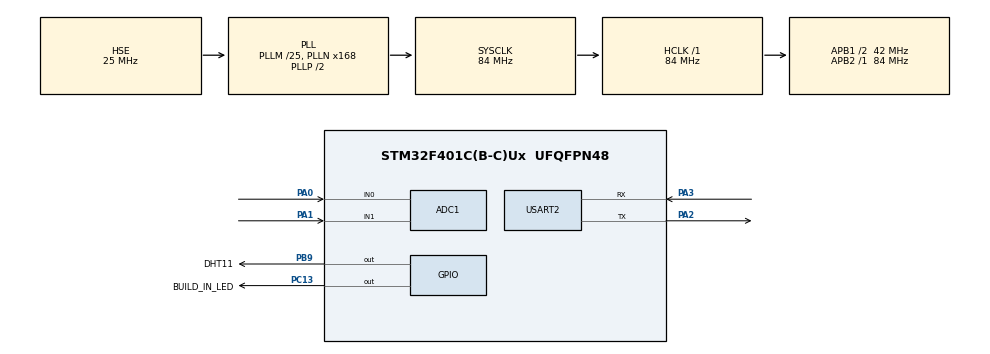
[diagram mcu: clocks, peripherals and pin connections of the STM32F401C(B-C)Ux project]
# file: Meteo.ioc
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ADC1.Channel-0\#ChannelRegularConversion=ADC_CHANNEL_0
ADC1.Channel-1\#ChannelRegularConversion=ADC_CHANNEL_1
ADC1.ContinuousConvMode=ENABLE
ADC1.EOCSelection=ADC_EOC_SINGLE_CONV
ADC1.NbrOfConversion=2
ADC1.NbrOfConversionFlag=1
ADC1.Rank-0\#ChannelRegularConversion=1
ADC1.Rank-1\#ChannelRegularConversion=2
ADC1.SamplingTime-0\#ChannelRegularConversion=ADC_SAMPLETIME_3CYCLES
ADC1.SamplingTime-1\#ChannelRegularConversion=ADC_SAMPLETIME_3CYCLES
ADC1.master=1
Mcu.Family=STM32F4
Mcu.Name=STM32F401C(B-C)Ux
Mcu.Package=UFQFPN48
NVIC.PriorityGroup=NVIC_PRIORITYGROUP_4
NVIC.USART2_IRQn=true\:0\:0\:false\:false\:true\:true\:true\:true
PA0-WKUP.Signal=ADCx_IN0
PA1.Signal=ADCx_IN1
PA13.Mode=Serial_Wire
PA13.Signal=SYS_JTMS-SWDIO
PA14.Mode=Serial_Wire
PA14.Signal=SYS_JTCK-SWCLK
PA2.Mode=Asynchronous
PA2.Signal=USART2_TX
PA3.Mode=Asynchronous
PA3.Signal=USART2_RX
PB9.GPIO_Label=DHT11
PB9.GPIO_PuPd=GPIO_PULLDOWN
PB9.Signal=GPIO_Output
PC13-ANTI_TAMP.GPIO_Label=BUILD_IN_LED
PC13-ANTI_TAMP.GPIO_PuPd=GPIO_PULLUP
PC13-ANTI_TAMP.Signal=GPIO_Output
PH0\ -\ OSC_IN.Mode=HSE-External-Oscillator
PH0\ -\ OSC_IN.Signal=RCC_OSC_IN
PH1\ -\ OSC_OUT.Mode=HSE-External-Oscillator
PH1\ -\ OSC_OUT.Signal=RCC_OSC_OUT
ProjectManager.HeapSize=0x200
ProjectManager.StackSize=0x400
ProjectManager.TargetToolchain=STM32CubeIDE
RCC.48MHZClocksFreq_Value=42000000
RCC.AHBFreq_Value=84000000
RCC.APB1CLKDivider=RCC_HCLK_DIV2
RCC.APB1Freq_Value=42000000
RCC.APB1TimFreq_Value=84000000
RCC.APB2Freq_Value=84000000
RCC.APB2TimFreq_Value=84000000
RCC.CortexFreq_Value=84000000
RCC.HCLKFreq_Value=84000000
RCC.HSE_VALUE=25000000
RCC.HSI_VALUE=16000000
RCC.LSE_VALUE=32768
RCC.PLLM=25
RCC.PLLN=168
RCC.PLLSourceVirtual=RCC_PLLSOURCE_HSE
RCC.SYSCLKFreq_VALUE=84000000
RCC.SYSCLKSource=RCC_SYSCLKSOURCE_PLLCLK
RCC.VCOOutputFreq_Value=168000000
SH.ADCx_IN0.0=ADC1_IN0,IN0
SH.ADCx_IN1.0=ADC1_IN1,IN1
TIM1.Prescaler=71
USART2.VirtualMode=VM_ASYNC
VP_TIM1_VS_ClockSourceINT.Mode=Internal
board=custom

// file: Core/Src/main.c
/* USER CODE BEGIN Header */
/**
  ******************************************************************************
  * @file           : main.c
  * @brief          : Main program body
  ******************************************************************************
  * @attention
  *
  * Copyright (c) 2025 STMicroelectronics.
  * All rights reserved.
  *
  * This software is licensed under terms that can be found in the LICENSE file
  * in the root directory of this software component.
  * If no LICENSE file comes with this software, it is provided AS-IS.
  *
  ******************************************************************************
  */
/* USER CODE END Header */
#include "main.h"

ADC_HandleTypeDef hadc1;

TIM_HandleTypeDef htim1;

UART_HandleTypeDef huart2;

/* USER CODE BEGIN PV */
uint32_t adcValue1 = 0;
uint32_t adcValue2 = 0;

int temp = 22;
uint8_t ttemp =22;
uint8_t humidity = 50;

uint8_t soilSensorValue = 0;
uint8_t rainSensorValue = 0;

static RelayControl relay1;
static RelayControl relay2;
static RelayControl relay3;
/* USER CODE END PV */

void SystemClock_Config(void);
static void MX_GPIO_Init(void);
static void MX_USART2_UART_Init(void);
static void MX_ADC1_Init(void);
static void MX_TIM1_Init(void);

/* USER CODE BEGIN 0 */
void readRowADC()
{
    // Reconfigure the ADC channel to IN0
    HAL_ADC_Start(&hadc1);
    HAL_ADC_PollForConversion(&hadc1, HAL_MAX_DELAY);
    adcValue1 = HAL_ADC_GetValue(&hadc1); // Read data from IN0

    // Reconfigure the ADC channel to IN1
    ADC_ChannelConfTypeDef sConfig = {0};
    sConfig.Channel = ADC_CHANNEL_1;
    sConfig.Rank = 1;
    sConfig.SamplingTime = ADC_SAMPLETIME_3CYCLES;
    HAL_ADC_ConfigChannel(&hadc1, &sConfig);

    HAL_ADC_PollForConversion(&hadc1, HAL_MAX_DELAY);
    adcValue2 = HAL_ADC_GetValue(&hadc1); // Read data from IN1

    // Reconfigure the ADC channel back to IN0 for the next loop iteration
    sConfig.Channel = ADC_CHANNEL_0;
    HAL_ADC_ConfigChannel(&hadc1, &sConfig);
}
/* USER CODE END 0 */

int main(void)
{

  /* MCU Configuration--------------------------------------------------------*/

  /* Reset of all peripherals, Initializes the Flash interface and the Systick. */
  HAL_Init();

  /* USER CODE BEGIN Init */

  //Set up the systick timer to generate an interrupt every 1ms
  SysTick_Config(SystemCoreClock / 1000);

  /* USER CODE END Init */

  /* Configure the system clock */
  SystemClock_Config();

  /* Initialize all configured peripherals */
  MX_GPIO_Init();
  MX_USART2_UART_Init();
  MX_ADC1_Init();
  MX_TIM1_Init();
  /* USER CODE BEGIN 2 */
  // Initializate the RX_DATA buffer
  HAL_UART_Receive_IT(&huart2, RX_DATA, RX_DATA_SIZE);
  // Initialize the retarget function
  RetargetInit(&huart2);
  initRelayControl(&relay1, RELAY_1_PORT, RELAY_1_PIN);
  initRelayControl(&relay2, RELAY_2_PORT, RELAY_2_PIN);
  initRelayControl(&relay3, RELAY_3_PORT, RELAY_3_PIN);
  /* USER CODE END 2 */

  /* Infinite loop */
  /* USER CODE BEGIN WHILE */
  while (1)
  {
    readRowADC(); // Read ADC values
      // Convert ADC values to soil moisture and rainwater
    soilSensorValue = convertSoilMoisture(adcValue1);
    rainSensorValue = convertRainWater(adcValue2);
    printf("SOIL:%d RAIN:%d\n", soilSensorValue, rainSensorValue);
    printf("TEMP:%d HUM:%d\n", temp, humidity);
    // printf("TEMP: %d HUM:%d SOIL:%d RAIN:%d\n", temp, humidity, soilSensorValue, rainSensorValue);
    HAL_Delay(1000); // Delay for 1 second
    // HAL_Delay(1000); // Delay for 1 second

    /* USER CODE END WHILE */

  }
}

void SystemClock_Config(void)
{
  RCC_OscInitTypeDef RCC_OscInitStruct = {0};
  RCC_ClkInitTypeDef RCC_ClkInitStruct = {0};

  /** Configure the main internal regulator output voltage
  */
  __HAL_RCC_PWR_CLK_ENABLE();
  __HAL_PWR_VOLTAGESCALING_CONFIG(PWR_REGULATOR_VOLTAGE_SCALE2);

  /** Initializes the RCC Oscillators according to the specified parameters
  * in the RCC_OscInitTypeDef structure.
  */
  RCC_OscInitStruct.OscillatorType = RCC_OSCILLATORTYPE_HSE;
  RCC_OscInitStruct.HSEState = RCC_HSE_ON;
  RCC_OscInitStruct.PLL.PLLState = RCC_PLL_ON;
  RCC_OscInitStruct.PLL.PLLSource = RCC_PLLSOURCE_HSE;
  RCC_OscInitStruct.PLL.PLLM = 25;
  RCC_OscInitStruct.PLL.PLLN = 168;
  RCC_OscInitStruct.PLL.PLLP = RCC_PLLP_DIV2;
  RCC_OscInitStruct.PLL.PLLQ = 4;
  if (HAL_RCC_OscConfig(&RCC_OscInitStruct) != HAL_OK)
  {
    Error_Handler();
  }

  /** Initializes the CPU, AHB and APB buses clocks
  */
  RCC_ClkInitStruct.ClockType = RCC_CLOCKTYPE_HCLK|RCC_CLOCKTYPE_SYSCLK
                              |RCC_CLOCKTYPE_PCLK1|RCC_CLOCKTYPE_PCLK2;
  RCC_ClkInitStruct.SYSCLKSource = RCC_SYSCLKSOURCE_PLLCLK;
  RCC_ClkInitStruct.AHBCLKDivider = RCC_SYSCLK_DIV1;
  RCC_ClkInitStruct.APB1CLKDivider = RCC_HCLK_DIV2;
  RCC_ClkInitStruct.APB2CLKDivider = RCC_HCLK_DIV1;

  if (HAL_RCC_ClockConfig(&RCC_ClkInitStruct, FLASH_LATENCY_2) != HAL_OK)
  {
    Error_Handler();
  }
}

static void MX_ADC1_Init(void)
{

  ADC_ChannelConfTypeDef sConfig = {0};

  /** Configure the global features of the ADC (Clock, Resolution, Data Alignment and number of conversion)
  */
  hadc1.Instance = ADC1;
  hadc1.Init.ClockPrescaler = ADC_CLOCK_SYNC_PCLK_DIV4;
  hadc1.Init.Resolution = ADC_RESOLUTION_12B;
  hadc1.Init.ScanConvMode = ENABLE;
  hadc1.Init.ContinuousConvMode = ENABLE;
  hadc1.Init.DiscontinuousConvMode = DISABLE;
  hadc1.Init.ExternalTrigConvEdge = ADC_EXTERNALTRIGCONVEDGE_NONE;
  hadc1.Init.ExternalTrigConv = ADC_SOFTWARE_START;
  hadc1.Init.DataAlign = ADC_DATAALIGN_RIGHT;
  hadc1.Init.NbrOfConversion = 2;
  hadc1.Init.DMAContinuousRequests = DISABLE;
  hadc1.Init.EOCSelection = ADC_EOC_SINGLE_CONV;
  if (HAL_ADC_Init(&hadc1) != HAL_OK)
  {
    Error_Handler();
  }

  /** Configure for the selected ADC regular channel its corresponding rank in the sequencer and its sample time.
  */
  sConfig.Channel = ADC_CHANNEL_0;
  sConfig.Rank = 1;
  sConfig.SamplingTime = ADC_SAMPLETIME_3CYCLES;
  if (HAL_ADC_ConfigChannel(&hadc1, &sConfig) != HAL_OK)
  {
    Error_Handler();
  }

  /** Configure for the selected ADC regular channel its corresponding rank in the sequencer and its sample time.
  */
  sConfig.Channel = ADC_CHANNEL_1;
  sConfig.Rank = 2;
  if (HAL_ADC_ConfigChannel(&hadc1, &sConfig) != HAL_OK)
  {
    Error_Handler();
  }

}

static void MX_TIM1_Init(void)
{

  TIM_ClockConfigTypeDef sClockSourceConfig = {0};
  TIM_MasterConfigTypeDef sMasterConfig = {0};

  htim1.Instance = TIM1;
  htim1.Init.Prescaler = 71;
  htim1.Init.CounterMode = TIM_COUNTERMODE_UP;
  htim1.Init.Period = 65535;
  htim1.Init.ClockDivision = TIM_CLOCKDIVISION_DIV1;
  htim1.Init.RepetitionCounter = 0;
  htim1.Init.AutoReloadPreload = TIM_AUTORELOAD_PRELOAD_DISABLE;
  if (HAL_TIM_Base_Init(&htim1) != HAL_OK)
  {
    Error_Handler();
  }
  sClockSourceConfig.ClockSource = TIM_CLOCKSOURCE_INTERNAL;
  if (HAL_TIM_ConfigClockSource(&htim1, &sClockSourceConfig) != HAL_OK)
  {
    Error_Handler();
  }
  sMasterConfig.MasterOutputTrigger = TIM_TRGO_RESET;
  sMasterConfig.MasterSlaveMode = TIM_MASTERSLAVEMODE_DISABLE;
  if (HAL_TIMEx_MasterConfigSynchronization(&htim1, &sMasterConfig) != HAL_OK)
  {
    Error_Handler();
  }

}

static void MX_USART2_UART_Init(void)
{

  huart2.Instance = USART2;
  huart2.Init.BaudRate = 115200;
  huart2.Init.WordLength = UART_WORDLENGTH_8B;
  huart2.Init.StopBits = UART_STOPBITS_1;
  huart2.Init.Parity = UART_PARITY_NONE;
  huart2.Init.Mode = UART_MODE_TX_RX;
  huart2.Init.HwFlowCtl = UART_HWCONTROL_NONE;
  huart2.Init.OverSampling = UART_OVERSAMPLING_16;
  if (HAL_UART_Init(&huart2) != HAL_OK)
  {
    Error_Handler();
  }

}

static void MX_GPIO_Init(void)
{
  GPIO_InitTypeDef GPIO_InitStruct = {0};

  /* GPIO Ports Clock Enable */
  __HAL_RCC_GPIOC_CLK_ENABLE();
  __HAL_RCC_GPIOH_CLK_ENABLE();
  __HAL_RCC_GPIOA_CLK_ENABLE();
  __HAL_RCC_GPIOB_CLK_ENABLE();

  /*Configure GPIO pin Output Level */
  HAL_GPIO_WritePin(BUILD_IN_LED_GPIO_Port, BUILD_IN_LED_Pin, GPIO_PIN_RESET);

  /*Configure GPIO pin Output Level */
  HAL_GPIO_WritePin(DHT11_GPIO_Port, DHT11_Pin, GPIO_PIN_RESET);

  /*Configure GPIO pin : BUILD_IN_LED_Pin */
  GPIO_InitStruct.Pin = BUILD_IN_LED_Pin;
  GPIO_InitStruct.Mode = GPIO_MODE_OUTPUT_PP;
  GPIO_InitStruct.Pull = GPIO_PULLUP;
  GPIO_InitStruct.Speed = GPIO_SPEED_FREQ_LOW;
  HAL_GPIO_Init(BUILD_IN_LED_GPIO_Port, &GPIO_InitStruct);

  /*Configure GPIO pin : DHT11_Pin */
  GPIO_InitStruct.Pin = DHT11_Pin;
  GPIO_InitStruct.Mode = GPIO_MODE_OUTPUT_PP;
  GPIO_InitStruct.Pull = GPIO_PULLDOWN;
  GPIO_InitStruct.Speed = GPIO_SPEED_FREQ_LOW;
  HAL_GPIO_Init(DHT11_GPIO_Port, &GPIO_InitStruct);

}

/* USER CODE BEGIN 4 */

/**
 * @brief USART interrupt handler function.
 * @return Call ladControl function with the command entered by the user.
 */
void HAL_UART_RxCpltCallback(UART_HandleTypeDef *huart)
{
  // Prevent unused argument(s) compilation warning
  // UNUSED(huart);
  // if (RX_DATA[0] != '.')
  // {
  //   printf("Request declined!\n ");
  //   HAL_UART_Receive_IT(&huart2, RX_DATA, RX_DATA_SIZE);
  //   return;
  // }
  // printf("Request received!\n ");

  // printf("Enter command: ");
  char command[RX_DATA_SIZE];
  strncpy(command, (char *)RX_DATA, RX_DATA_SIZE - 1);
  command[RX_DATA_SIZE - 1] = '\0'; // Ensure null termination

  if (!strstr(command, "hesoyam"))
  {
      readRowADC(); // Read ADC values
      // Convert ADC values to soil moisture and rainwater
      soilSensorValue = convertSoilMoisture(adcValue1);
      rainSensorValue = convertRainWater(adcValue2);
      printf("SOIL:%d RAIN:%d\n", soilSensorValue, rainSensorValue);
  }
  else if (!strstr(command, "panzeri"))
  {

      printf("TEMP: %d HUM:%d\n", temp, humidity);
  }
  // Clear the RX_DATA buffer
  memset(RX_DATA, 0, RX_DATA_SIZE);
  HAL_UART_Receive_IT(&huart2, RX_DATA, RX_DATA_SIZE);
  return;
}

/* USER CODE END 4 */

void Error_Handler(void)
{
  __disable_irq();
  while (1)
  {
  }
}
